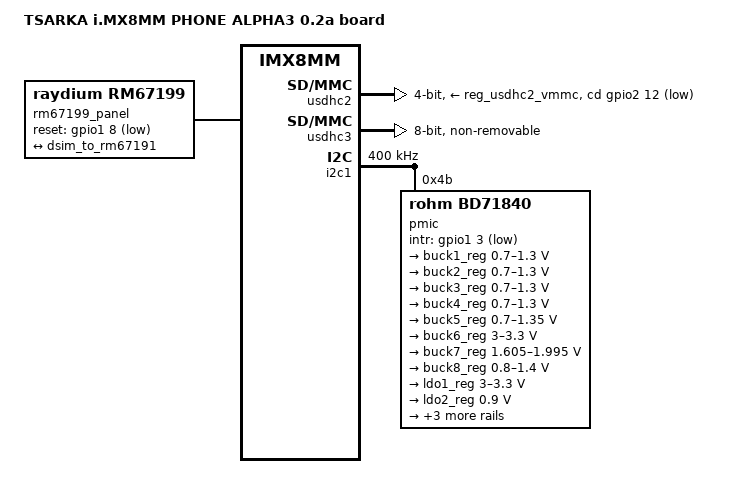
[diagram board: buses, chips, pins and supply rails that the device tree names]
// SPDX-License-Identifier: GPL-2.0+
 /*
  * Copyright 2018 NXP
  */

/dts-v1/;

#include "imx8mm-evk.dtsi"

/ {
	model = "TSARKA i.MX8MM PHONE ALPHA3 0.2a board";
	compatible = "fsl,imx8mm-ddr4-evk", "fsl,imx8mm";

	clocks {
		mcp251x_clock: mcp251x_clock{
			compatible = "fixed-clock";
			#clock-cells = <0>;
			clock-frequency = <8000000>;
		};
	};

	rm67199_panel {
		compatible = "raydium,rm67199";
		pinctrl-names = "default";
		// pinctrl-0 = <&pinctrl_mipi_dsi_en>;
		reset-gpio = <&gpio1 8 GPIO_ACTIVE_LOW>;
		dsi-lanes = <4>;
		video-mode = <2>;	/* 0: burst mode
					 * 1: non-burst mode with sync event
					 * 2: non-burst mode with sync pulse
					 */
		panel-width-mm = <68>;
		panel-height-mm = <121>;
		status = "okay";

		port {
			rm67191_from_dsim: endpoint {
				remote-endpoint = <&dsim_to_rm67191>;
			};
		};
	};
 
	aliases {
	usbgadget0 = &usbg1;
	};

	usbg1: usbg1 {
	compatible = "fsl,imx27-usb-gadget";
	dr_mode = "peripheral";
	chipidea,usb = <&usbotg1>;
	status = "okay";
	};

	// rm67199_panel { //SIMPLE PANEL
	// 	compatible = "simple-panel";
	// 	enable-gpios = <&gpio1 1 GPIO_ACTIVE_HIGH>, <&gpio1 8 GPIO_ACTIVE_HIGH>;
	// 	// backlight = <&backlight>;
	// 	status = "okay";

	// 	port {
	// 		rm67191_from_dsim: endpoint {
	// 			remote-endpoint = <&dsim_to_rm67191>;
	// 		};
	// 	};
	// };

	// backlight: backlight@0 {
	// 	compatible = "pwm-backlight";
	// 	pwms = <&pwm1 0 50000>;
	// 	power-supply = <&ldo3_reg>;
	// 	// enable-gpios = <&gpio1 8 GPIO_ACTIVE_HIGH>;

	// 	brightness-levels = < 0 23 23 23 23 23 23 23 23 23
	// 			     23 23 23 23 23 23 23 23 23 23
	// 			     23 23 23 23 24 25 26 27 28 29
	// 			     30 31 32 33 34 35 36 37 38 39
	// 			     40 41 42 43 44 45 46 47 48 49
	// 			     50 51 52 53 54 55 56 57 58 59
	// 			     60 61 62 63 64 65 66 67 68 69
	// 			     70 71 72 73 74 75 76 77 78 79
	// 			     80 81 82 83 84 85 86 87 88 89
	// 			     90 91 92 93 94 95 96 97 98 99
	// 			    100>;
	// 	default-brightness-level = <80>;
	// };
};

&usdhc2 {
	pinctrl-names = "default", "state_100mhz", "state_200mhz";
	pinctrl-0 = <&pinctrl_usdhc2>, <&pinctrl_usdhc2_gpio>;
	pinctrl-1 = <&pinctrl_usdhc2_100mhz>, <&pinctrl_usdhc2_gpio>;
	pinctrl-2 = <&pinctrl_usdhc2_200mhz>, <&pinctrl_usdhc2_gpio>;
	cd-gpios = <&gpio2 12 GPIO_ACTIVE_LOW>;
	bus-width = <4>;
	vmmc-supply = <&reg_usdhc2_vmmc>;
	status = "okay";
};

&usdhc3 {
	pinctrl-names = "default", "state_100mhz", "state_200mhz";
	pinctrl-0 = <&pinctrl_usdhc3>;
	pinctrl-1 = <&pinctrl_usdhc3_100mhz>;
	pinctrl-2 = <&pinctrl_usdhc3_200mhz>;
	bus-width = <8>;
	non-removable;
	status = "okay";
};

&lcdif {
	// /delete-property/ assigned-clocks;
	// /delete-property/ assigned-clock-parents;
	// /delete-property/ assigned-clock-rates;
};

&mipi_dsi {
	// /delete-property/ assigned-clocks;
	// /delete-property/ assigned-clock-parents;
	// /delete-property/ assigned-clock-rates;
};

// &gpmi {
// 	pinctrl-names = "default";
// 	pinctrl-0 = <&pinctrl_gpmi_nand>;
// 	nand-on-flash-bbt;
// 	fsl,use-minimum-ecc;
// 	status = "okay";
// };

// &usdhc2 {
// 	pinctrl-names = "default", "state_100mhz", "state_200mhz";
// 	pinctrl-0 = <&pinctrl_usdhc2>, <&pinctrl_usdhc2_gpio>;
// 	pinctrl-1 = <&pinctrl_usdhc2_100mhz>, <&pinctrl_usdhc2_gpio>;
// 	pinctrl-2 = <&pinctrl_usdhc2_200mhz>, <&pinctrl_usdhc2_gpio>;
// 	cd-gpios = <&gpio2 12 GPIO_ACTIVE_LOW>;
// 	bus-width = <4>;
// 	vmmc-supply = <&reg_usdhc2_vmmc>;
// 	status = "okay";
// };

/delete-node/ &pmic;

&i2c1 {
	clock-frequency = <400000>;
	pinctrl-names = "default";
	pinctrl-0 = <&pinctrl_i2c1>;
	status = "okay";

	pmic: pmic@4b {
		reg = <0x4b>;
		compatible = "rohm,bd71840", "rohm,bd71837";
		/* PMIC BD71837 PMIC_nINT GPIO1_IO3 */
		pinctrl-0 = <&pinctrl_pmic>;
		gpio_intr = <&gpio1 3 GPIO_ACTIVE_LOW>;

		gpo {
			rohm,drv = <0x0C>;	/* 0b0000_1100 all gpos with cmos output mode */
		};

		regulators {
			#address-cells = <1>;
			#size-cells = <0>;

			bd71837,pmic-buck2-uses-i2c-dvs;
			bd71837,pmic-buck2-dvs-voltage = <1000000>, <900000>, <0>; /* VDD_ARM: Run-Idle */

			buck1_reg: regulator@0 {
				reg = <0>;
				regulator-compatible = "buck1";
				regulator-min-microvolt = <700000>;
				regulator-max-microvolt = <1300000>;
				regulator-boot-on;
				regulator-always-on;
				regulator-ramp-delay = <1250>;
			};

			buck2_reg: regulator@1 {
				reg = <1>;
				regulator-compatible = "buck2";
				regulator-min-microvolt = <700000>;
				regulator-max-microvolt = <1300000>;
				regulator-boot-on;
				regulator-always-on;
				regulator-ramp-delay = <1250>;
			};

			buck3_reg: regulator@2 {
				reg = <2>;
				regulator-compatible = "buck3";
				regulator-min-microvolt = <700000>;
				regulator-max-microvolt = <1300000>;
			};

			buck4_reg: regulator@3 {
				reg = <3>;
				regulator-compatible = "buck4";
				regulator-min-microvolt = <700000>;
				regulator-max-microvolt = <1300000>;
			};

			buck5_reg: regulator@4 {
				reg = <4>;
				regulator-compatible = "buck5";
				regulator-min-microvolt = <700000>;
				regulator-max-microvolt = <1350000>;
				regulator-boot-on;
				regulator-always-on;
			};

			buck6_reg: regulator@5 {
				reg = <5>;
				regulator-compatible = "buck6";
				regulator-min-microvolt = <3000000>;
				regulator-max-microvolt = <3300000>;
				regulator-boot-on;
				regulator-always-on;
			};

			buck7_reg: regulator@6 {
				reg = <6>;
				regulator-compatible = "buck7";
				regulator-min-microvolt = <1605000>;
				regulator-max-microvolt = <1995000>;
				regulator-boot-on;
				regulator-always-on;
			};

			buck8_reg: regulator@7 {
				reg = <7>;
				regulator-compatible = "buck8";
				regulator-min-microvolt = <800000>;
				regulator-max-microvolt = <1400000>;
				regulator-boot-on;
				regulator-always-on;
			};

			ldo1_reg: regulator@8 {
				reg = <8>;
				regulator-compatible = "ldo1";
				regulator-min-microvolt = <3000000>;
				regulator-max-microvolt = <3300000>;
				regulator-boot-on;
				regulator-always-on;
			};

			ldo2_reg: regulator@9 {
				reg = <9>;
				regulator-compatible = "ldo2";
				regulator-min-microvolt = <900000>;
				regulator-max-microvolt = <900000>;
				regulator-boot-on;
				regulator-always-on;
			};

			ldo3_reg: regulator@10 {
				reg = <10>;
				regulator-compatible = "ldo3";
				regulator-min-microvolt = <1800000>;
				regulator-max-microvolt = <3300000>;
				regulator-boot-on;
				regulator-always-on;
			};

			ldo4_reg: regulator@11 {
				reg = <11>;
				regulator-compatible = "ldo4";
				regulator-min-microvolt = <900000>;
				regulator-max-microvolt = <1800000>;
				regulator-boot-on;
				regulator-always-on;
			};

			ldo6_reg: regulator@13 {
				reg = <13>;
				regulator-compatible = "ldo6";
				regulator-min-microvolt = <900000>;
				regulator-max-microvolt = <1800000>;
				regulator-boot-on;
				regulator-always-on;
			};
		};
	};
};

&iomuxc {
	// /delete-node/ usdhc2grpgpiogrp;
	// /delete-node/ usdhc2-100mhzgrp;
	// /delete-node/ usdhc2-200mhzgrp;

	// pinctrl_usdhc2_gpio: usdhc2grpgpio {
	// 	fsl,pins = <
	// 		MX8MM_IOMUXC_SD2_CD_B_GPIO2_IO12	0x1c4
	// 		MX8MM_IOMUXC_SD2_RESET_B_GPIO2_IO19	0x41
	// 	>;
	// };

	// pinctrl_usdhc2: usdhc2grp {
	// 	fsl,pins = <
	// 		MX8MM_IOMUXC_SD2_CLK_USDHC2_CLK		0x190
	// 		MX8MM_IOMUXC_SD2_CMD_USDHC2_CMD		0x1d0
	// 		MX8MM_IOMUXC_SD2_DATA0_USDHC2_DATA0	0x1d0
	// 		MX8MM_IOMUXC_SD2_DATA1_USDHC2_DATA1	0x1d0
	// 		MX8MM_IOMUXC_SD2_DATA2_USDHC2_DATA2	0x1d0
	// 		MX8MM_IOMUXC_SD2_DATA3_USDHC2_DATA3	0x1d0
	// 		MX8MM_IOMUXC_GPIO1_IO04_USDHC2_VSELECT	0x1d0
	// 	>;
	// };

	// pinctrl_usdhc2_100mhz: usdhc2grp100mhz {
	// 	fsl,pins = <
	// 		MX8MM_IOMUXC_SD2_CLK_USDHC2_CLK		0x194
	// 		MX8MM_IOMUXC_SD2_CMD_USDHC2_CMD		0x1d4
	// 		MX8MM_IOMUXC_SD2_DATA0_USDHC2_DATA0	0x1d4
	// 		MX8MM_IOMUXC_SD2_DATA1_USDHC2_DATA1	0x1d4
	// 		MX8MM_IOMUXC_SD2_DATA2_USDHC2_DATA2	0x1d4
	// 		MX8MM_IOMUXC_SD2_DATA3_USDHC2_DATA3	0x1d4
	// 		MX8MM_IOMUXC_GPIO1_IO04_USDHC2_VSELECT	0x1d0
	// 	>;
	// };

	// pinctrl_usdhc2_200mhz: usdhc2grp200mhz {
	// 	fsl,pins = <
	// 		MX8MM_IOMUXC_SD2_CLK_USDHC2_CLK		0x196
	// 		MX8MM_IOMUXC_SD2_CMD_USDHC2_CMD		0x1d6
	// 		MX8MM_IOMUXC_SD2_DATA0_USDHC2_DATA0	0x1d6
	// 		MX8MM_IOMUXC_SD2_DATA1_USDHC2_DATA1	0x1d6
	// 		MX8MM_IOMUXC_SD2_DATA2_USDHC2_DATA2	0x1d6
	// 		MX8MM_IOMUXC_SD2_DATA3_USDHC2_DATA3	0x1d6
	// 		MX8MM_IOMUXC_GPIO1_IO04_USDHC2_VSELECT	0x1d0
	// 	>;
	// };

	pinctrl_usdhc3: usdhc3grp {
		fsl,pins = <
			MX8MM_IOMUXC_NAND_WE_B_USDHC3_CLK		0x190
			MX8MM_IOMUXC_NAND_WP_B_USDHC3_CMD		0x1d0
			MX8MM_IOMUXC_NAND_DATA04_USDHC3_DATA0		0x1d0
			MX8MM_IOMUXC_NAND_DATA05_USDHC3_DATA1		0x1d0
			MX8MM_IOMUXC_NAND_DATA06_USDHC3_DATA2		0x1d0
			MX8MM_IOMUXC_NAND_DATA07_USDHC3_DATA3		0x1d0
			MX8MM_IOMUXC_NAND_RE_B_USDHC3_DATA4		0x1d0
			MX8MM_IOMUXC_NAND_CE2_B_USDHC3_DATA5		0x1d0
			MX8MM_IOMUXC_NAND_CE3_B_USDHC3_DATA6		0x1d0
			MX8MM_IOMUXC_NAND_CLE_USDHC3_DATA7		0x1d0
			MX8MM_IOMUXC_NAND_CE1_B_USDHC3_STROBE 		0x190
		>;
	};

	pinctrl_usdhc3_100mhz: usdhc3grp100mhz {
		fsl,pins = <
			MX8MM_IOMUXC_NAND_WE_B_USDHC3_CLK		0x194
			MX8MM_IOMUXC_NAND_WP_B_USDHC3_CMD		0x1d4
			MX8MM_IOMUXC_NAND_DATA04_USDHC3_DATA0		0x1d4
			MX8MM_IOMUXC_NAND_DATA05_USDHC3_DATA1		0x1d4
			MX8MM_IOMUXC_NAND_DATA06_USDHC3_DATA2		0x1d4
			MX8MM_IOMUXC_NAND_DATA07_USDHC3_DATA3		0x1d4
			MX8MM_IOMUXC_NAND_RE_B_USDHC3_DATA4		0x1d4
			MX8MM_IOMUXC_NAND_CE2_B_USDHC3_DATA5		0x1d4
			MX8MM_IOMUXC_NAND_CE3_B_USDHC3_DATA6		0x1d4
			MX8MM_IOMUXC_NAND_CLE_USDHC3_DATA7		0x1d4
			MX8MM_IOMUXC_NAND_CE1_B_USDHC3_STROBE 		0x194
		>;
	};

	pinctrl_usdhc3_200mhz: usdhc3grp200mhz {
		fsl,pins = <
			MX8MM_IOMUXC_NAND_WE_B_USDHC3_CLK		0x196
			MX8MM_IOMUXC_NAND_WP_B_USDHC3_CMD		0x1d6
			MX8MM_IOMUXC_NAND_DATA04_USDHC3_DATA0		0x1d6
			MX8MM_IOMUXC_NAND_DATA05_USDHC3_DATA1		0x1d6
			MX8MM_IOMUXC_NAND_DATA06_USDHC3_DATA2		0x1d6
			MX8MM_IOMUXC_NAND_DATA07_USDHC3_DATA3		0x1d6
			MX8MM_IOMUXC_NAND_RE_B_USDHC3_DATA4		0x1d6
			MX8MM_IOMUXC_NAND_CE2_B_USDHC3_DATA5		0x1d6
			MX8MM_IOMUXC_NAND_CE3_B_USDHC3_DATA6		0x1d6
			MX8MM_IOMUXC_NAND_CLE_USDHC3_DATA7		0x1d6
			MX8MM_IOMUXC_NAND_CE1_B_USDHC3_STROBE 		0x196
		>;
	};

	pinctrl_gpmi_nand: gpmi-nand {
		fsl,pins = <
			MX8MM_IOMUXC_NAND_ALE_RAWNAND_ALE		0x00000096
			MX8MM_IOMUXC_NAND_CE0_B_RAWNAND_CE0_B		0x00000096
			MX8MM_IOMUXC_NAND_CE1_B_RAWNAND_CE1_B		0x00000096
			MX8MM_IOMUXC_NAND_CLE_RAWNAND_CLE		0x00000096
			MX8MM_IOMUXC_NAND_DATA00_RAWNAND_DATA00		0x00000096
			MX8MM_IOMUXC_NAND_DATA01_RAWNAND_DATA01		0x00000096
			MX8MM_IOMUXC_NAND_DATA02_RAWNAND_DATA02		0x00000096
			MX8MM_IOMUXC_NAND_DATA03_RAWNAND_DATA03		0x00000096
			MX8MM_IOMUXC_NAND_DATA04_RAWNAND_DATA04		0x00000096
			MX8MM_IOMUXC_NAND_DATA05_RAWNAND_DATA05		0x00000096
			MX8MM_IOMUXC_NAND_DATA06_RAWNAND_DATA06		0x00000096
			MX8MM_IOMUXC_NAND_DATA07_RAWNAND_DATA07		0x00000096
			MX8MM_IOMUXC_NAND_RE_B_RAWNAND_RE_B		0x00000096
			MX8MM_IOMUXC_NAND_READY_B_RAWNAND_READY_B	0x00000056
			MX8MM_IOMUXC_NAND_WE_B_RAWNAND_WE_B		0x00000096
			MX8MM_IOMUXC_NAND_WP_B_RAWNAND_WP_B		0x00000096
		>;
	};



		// pinctrl_pwm1: pwm1 {
		// 	fsl,pins = <
		// 		MX8MM_IOMUXC_GPIO1_IO01_PWM1_OUT		0x1d0
		// 	>;
		// };
};


// &pwm1 {
// 	pinctrl-names = "default";
// 	pinctrl-0 = <&pinctrl_pwm1>;
// 	status = "okay";
// };

&snvs {
	status = "disabled";
};
